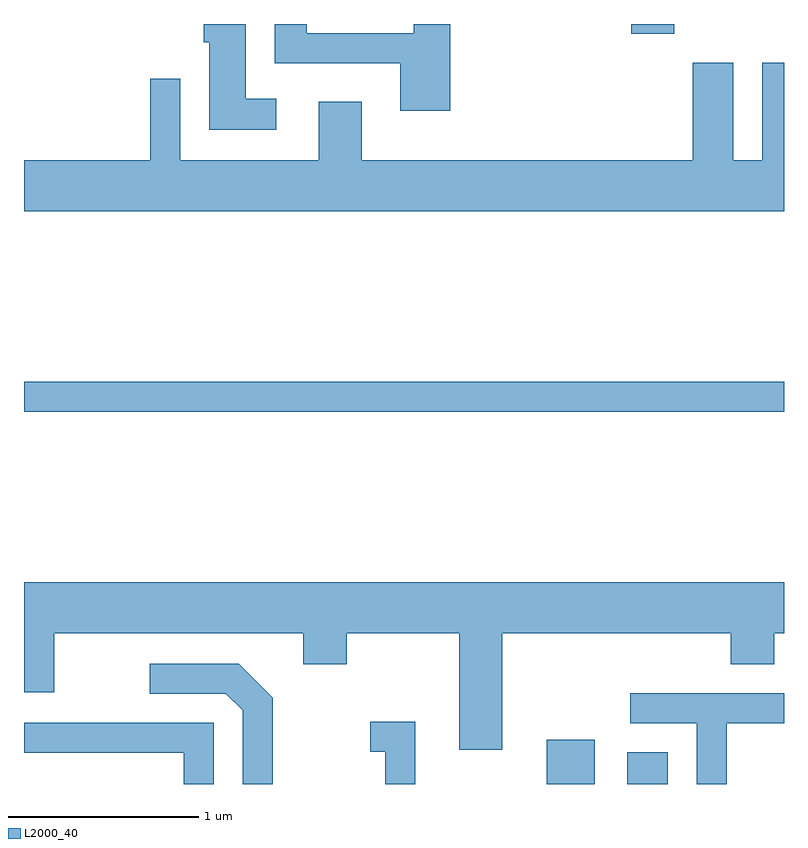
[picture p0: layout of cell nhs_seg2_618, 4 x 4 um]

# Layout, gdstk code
import gdstk
lib = gdstk.Library(unit=1e-6, precision=1e-09)
def R(c, l, rs):  # rectangles x0, y0, x1, y1
    for r in rs: c.add(gdstk.rectangle(r[:2], r[2:], *l))
def P(c, l, *ps):  # polygons
    for p in ps: c.add(gdstk.Polygon(p, *l))
L2000_40 = (2000, 40)

nhs_seg2_618 = lib.new_cell('nhs_seg2_618')
R(nhs_seg2_618, L2000_40, [(206.361,989.802,206.614,990.034), (206.786,989.802,206.999,989.969), (203.611,991.761,207.611,991.919), (206.806,993.751,207.034,993.802)])
P(nhs_seg2_618, L2000_40, [(204.938,993.409),(204.779,993.409),(204.779,993.802),(204.556,993.802),(204.556,993.706),(204.586,993.706),(204.586,993.246),(204.938,993.246)],
  [(205.854,993.802),(205.661,993.802),(205.661,993.754),(205.099,993.754),(205.099,993.802),(204.931,993.802),(204.931,993.596),(205.591,993.596),(205.591,993.346),(205.854,993.346)],
  [(207.611,993.599),(207.496,993.599),(207.496,993.084),(207.344,993.084),(207.344,993.599),(207.131,993.599),(207.131,993.084),(205.389,993.084),(205.389,993.394),(205.161,993.394),(205.161,993.084),(204.434,993.084),(204.434,993.513),(204.276,993.513),(204.276,993.084),(203.611,993.084),(203.611,992.816),(207.611,992.816)],
  [(206.129,990.596),(207.331,990.596),(207.331,990.431),(207.559,990.431),(207.559,990.596),(207.611,990.596),(207.611,990.864),(203.611,990.864),(203.611,990.286),(203.769,990.286),(203.769,990.596),(205.081,990.596),(205.081,990.431),(205.309,990.431),(205.309,990.596),(205.901,990.596),(205.901,989.981),(206.129,989.981)],
  [(204.919,990.257),(204.742,990.434),(204.273,990.434),(204.273,990.276),(204.674,990.276),(204.761,990.189),(204.761,989.802),(204.919,989.802)],
  [(207.309,990.121),(207.611,990.121),(207.611,990.279),(206.803,990.279),(206.803,990.121),(207.151,990.121),(207.151,989.802),(207.309,989.802)],
  [(205.669,990.129),(205.433,990.129),(205.433,989.971),(205.511,989.971),(205.511,989.802),(205.669,989.802)],
  [(204.609,990.124),(203.611,990.124),(203.611,989.966),(204.451,989.966),(204.451,989.802),(204.609,989.802)])

lib.write_gds('nhs_seg2_618.gds')
